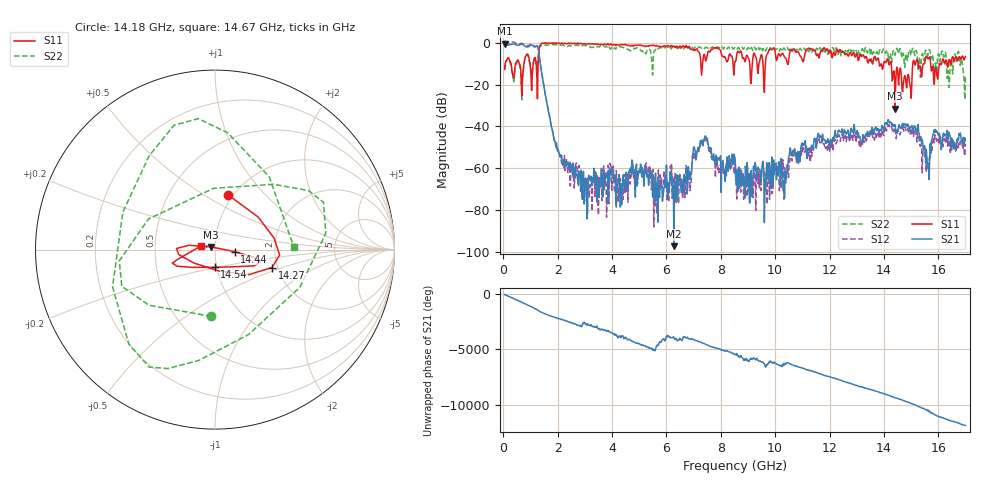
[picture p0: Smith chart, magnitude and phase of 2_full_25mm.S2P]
! C:\Users\LSO\Desktop\2_full_25mm.S2P
! Touchstone 1.1 file saved by VNA.EXE V1.65 (www.ke5fx.com/gpib/readme.htm)
! 2. 04. 2024 10:50:49
!  Source: HP8510C.07.14: Aug 26  1998
!  Min freq: 4.500000E+007 Hz
!  Max freq: 1.700000E+010 Hz
!  Points: 801
!  Params: S11 S21 S12 S22
# GHZ S DB R 50
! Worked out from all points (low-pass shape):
!   801 points, 45 MHz to 17 GHz, reference 50 ohm
!   highest |S21| = -0.27 dB at 45 MHz (marker M1); lowest = -97.3 dB at 6.276 GHz (marker M2)
!   |S21| within 3 dB of the highest: start of sweep to 1.287 GHz
!   lowest |S11| = -31.5 dB at 14.41 GHz (marker M3), VSWR 1.05, Z = 47.8 + j1.44 ohm
!   |S11| at or under -10 dB: 14.27 GHz to 15.06 GHz (795.8 MHz wide, 5.43 % of centre); 15.26 GHz to 15.45 GHz (189.8 MHz wide, 1.24 % of centre); 15.72 GHz to 16.04 GHz (323.4 MHz wide, 2.04 % of centre)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
!   |S22| runs from -27.2 to -0.6 dB; largest |S21 - S12| = 1.9
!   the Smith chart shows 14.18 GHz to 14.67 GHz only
!   S11 on the Smith chart (normalised r, x): 14.18 GHz: 0.95, +0.64; 14.27 GHz: 1.87, -0.42; 14.44 GHz: 1.25, -0.03; 14.54 GHz: 0.98, -0.20; 14.67 GHz: 0.86, +0.04
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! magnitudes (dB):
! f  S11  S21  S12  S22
! 45 MHz  -12.6  -0.3  1.2  -13.1
! 1.232 GHz  -16.4  -1.5  -1.3  -14.7
! 1.974 GHz  -0.3  -50.5  -50.4  -0.9
! 2.885 GHz  -0.3  -69.1  -68.7  -1.3
! 4.729 GHz  -1.1  -56.0  -61.3  -3.6
! 5.704 GHz  -1.7  -64.3  -60.8  -2.8
! 6.276 GHz  -1.5  -97.3  -66.3  -2.6
! 7.399 GHz  -5.5  -45.6  -47.1  -2.7
! 8.523 GHz  -8.8  -54.9  -56.3  -2.2
! 10.32 GHz  -6.2  -66.2  -74.8  -2.4
! 10.62 GHz  -3.8  -54.2  -56.5  -3.9
! 11.36 GHz  -3.0  -49.7  -52.1  -4.0
! 14.18 GHz  -10.1  -37.4  -39.1  -8.6
! 14.27 GHz  -9.6  -38.1  -39.6  -7.8
! 14.41 GHz  -31.5  -39.2  -41.5  -5.9
! 14.44 GHz  -19.1  -42.2  -43.5  -4.1
! 14.54 GHz  -20.1  -40.4  -43.1  -5.1
! 14.67 GHz  -22.1  -39.2  -40.9  -7.1
! 15.6 GHz  -7.2  -59.9  -59.5  -6.1
! 15.9 GHz  -12.2  -41.4  -44.6  -9.5
! 16.68 GHz  -7.1  -46.2  -50.5  -8.6
! 17 GHz  -6.5  -46.7  -48.3  -16.2
